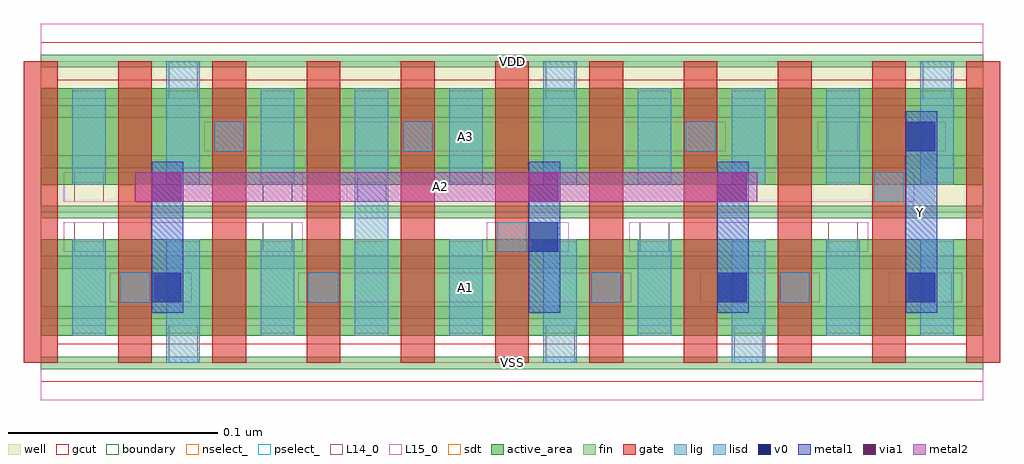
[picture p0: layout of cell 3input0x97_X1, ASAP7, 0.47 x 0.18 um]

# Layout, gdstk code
import gdstk
lib = gdstk.Library(unit=1e-6, precision=1e-09)
def R(c, l, rs):  # rectangles x0, y0, x1, y1
    for r in rs: c.add(gdstk.rectangle(r[:2], r[2:], *l))
def A(c, l, x, y, w, h, nx, ny, dx, dy):  # array of equal rectangles
    R(c, l, [(x+i*dx, y+j*dy, x+i*dx+w, y+j*dy+h) for i in range(nx) for j in range(ny)])
def P(c, l, *ps):  # polygons
    for p in ps: c.add(gdstk.Polygon(p, *l))
well = (1, 0)
fin = (2, 0)
gate = (7, 0)
gcut = (10, 0)
active_area = (11, 0)
nselect_ = (12, 0)
pselect_ = (13, 0)
L14_0 = (14, 0)
L15_0 = (15, 0)
lig = (16, 0)
lisd = (17, 0)
v0 = (18, 0)
metal1 = (19, 0)
metal2 = (20, 0)
via1 = (21, 0)
sdt = (88, 0)
boundary = (100, 0)

c_3input0x97_x1 = lib.new_cell('3input0x97_X1')
R(c_3input0x97_x1, well, [(0,0.072,0.45,0.144)])
A(c_3input0x97_x1, fin, 0, -0.003, 0.45, 0.006, 1, 7, 0, 0.024)
A(c_3input0x97_x1, gate, -0.008, 0, 0.016, 0.144, 11, 1, 0.045, 0)
P(c_3input0x97_x1, gcut, [(0,-0.009),(0,0),(-0.008,0),(-0.008,0.135),(0.008,0.135),(0.008,0.009),(0.442,0.009),(0.442,0.135),(-0.008,0.135),(-0.008,0.144),(0,0.144),(0,0.153),(0.45,0.153),(0.45,0.144),(0.458,0.144),(0.458,0),(0.45,0),(0.45,-0.009)])
R(c_3input0x97_x1, active_area, [(0,0.013,0.45,0.059), (0,0.085,0.45,0.131)])
R(c_3input0x97_x1, nselect_, [(0,0,0.45,0.072)])
R(c_3input0x97_x1, pselect_, [(0,0.072,0.45,0.144)])
A(c_3input0x97_x1, L14_0, 0.061, 0.126, 0.014, 0.018, 3, 1, 0.18, 0)
R(c_3input0x97_x1, L14_0, [(0.061,0,0.075,0.018), (0.241,0,0.255,0.018), (0.331,0,0.345,0.018), (0.038,0.029,0.052,0.043), (0.128,0.029,0.142,0.043), (0.263,0.029,0.277,0.043), (0.353,0.029,0.367,0.043), (0.421,0.029,0.435,0.043), (0.016,0.053,0.03,0.067), (0.106,0.053,0.12,0.067), (0.218,0.053,0.232,0.067), (0.286,0.053,0.3,0.067), (0.376,0.053,0.39,0.067), (0.016,0.077,0.03,0.091), (0.106,0.077,0.12,0.091), (0.151,0.077,0.165,0.091), (0.398,0.077,0.412,0.091), (0.083,0.101,0.097,0.115), (0.173,0.101,0.187,0.115), (0.308,0.101,0.322,0.115), (0.376,0.101,0.39,0.115)])
R(c_3input0x97_x1, L15_0, [(0,-0.018,0.45,0.018), (0.033,0.029,0.072,0.043), (0.123,0.029,0.282,0.043), (0.315,0.029,0.372,0.043), (0.405,0.029,0.44,0.043), (0.011,0.053,0.125,0.067), (0.213,0.053,0.252,0.067), (0.281,0.053,0.395,0.067), (0.011,0.077,0.125,0.091), (0.146,0.077,0.417,0.091), (0.078,0.101,0.327,0.115), (0.371,0.101,0.432,0.115), (0,0.126,0.45,0.162)])
R(c_3input0x97_x1, lig, [(0.038,0.029,0.052,0.043), (0.128,0.029,0.142,0.043), (0.263,0.029,0.277,0.043), (0.353,0.029,0.367,0.043), (0.218,0.053,0.232,0.067), (0.398,0.077,0.412,0.091), (0.083,0.101,0.097,0.115), (0.173,0.101,0.187,0.115), (0.308,0.101,0.322,0.115)])
A(c_3input0x97_x1, lisd, 0.015, 0.013, 0.016, 0.046, 5, 1, 0.09, 0)
A(c_3input0x97_x1, lisd, 0.015, 0.085, 0.016, 0.046, 4, 1, 0.09, 0)
A(c_3input0x97_x1, lisd, 0.06, 0.085, 0.016, 0.059, 3, 1, 0.18, 0)
R(c_3input0x97_x1, lisd, [(0.06,0,0.076,0.059), (0.24,0,0.256,0.059), (0.33,0,0.346,0.059), (0.15,0.013,0.166,0.131), (0.42,0.013,0.436,0.059), (0.33,0.085,0.346,0.131), (0.375,0.085,0.391,0.131)])
R(c_3input0x97_x1, v0, [(0.053,0.029,0.067,0.043), (0.323,0.029,0.337,0.043), (0.413,0.029,0.427,0.043), (0.233,0.053,0.247,0.067), (0.413,0.101,0.427,0.115)])
R(c_3input0x97_x1, metal1, [(0.053,0.024,0.068,0.096), (0.233,0.024,0.248,0.096), (0.323,0.024,0.338,0.096), (0.413,0.024,0.428,0.12)])
R(c_3input0x97_x1, metal2, [(0.045,0.077,0.342,0.091)])
R(c_3input0x97_x1, via1, [(0.053,0.077,0.067,0.091), (0.233,0.077,0.247,0.091), (0.323,0.077,0.337,0.091)])
A(c_3input0x97_x1, sdt, 0.015, 0.014, 0.016, 0.044, 10, 2, 0.045, 0.072)
R(c_3input0x97_x1, boundary, [(0,0,0.45,0.144)])
c_3input0x97_x1.add(gdstk.Label('VSS', (0.225,0), layer=15, texttype=251))
c_3input0x97_x1.add(gdstk.Label('VDD', (0.225,0.144), layer=15, texttype=251))
c_3input0x97_x1.add(gdstk.Label('A1', (0.203,0.036), layer=15, texttype=251))
c_3input0x97_x1.add(gdstk.Label('VSS', (0.225,0), layer=15, texttype=251))
c_3input0x97_x1.add(gdstk.Label('VDD', (0.225,0.144), layer=15, texttype=251))
c_3input0x97_x1.add(gdstk.Label('A3', (0.203,0.108), layer=15, texttype=251))
c_3input0x97_x1.add(gdstk.Label('VSS', (0.225,0), layer=15, texttype=251))
c_3input0x97_x1.add(gdstk.Label('VDD', (0.225,0.144), layer=15, texttype=251))
c_3input0x97_x1.add(gdstk.Label('VSS', (0.225,0), layer=15, texttype=251))
c_3input0x97_x1.add(gdstk.Label('VDD', (0.225,0.144), layer=15, texttype=251))
c_3input0x97_x1.add(gdstk.Label('VSS', (0.225,0), layer=3, texttype=251))
c_3input0x97_x1.add(gdstk.Label('VSS', (0.225,0), layer=3, texttype=251))
c_3input0x97_x1.add(gdstk.Label('VSS', (0.225,0), layer=3, texttype=251))
c_3input0x97_x1.add(gdstk.Label('VSS', (0.225,0), layer=3, texttype=251))
c_3input0x97_x1.add(gdstk.Label('VDD', (0.225,0.144), layer=1, texttype=251))
c_3input0x97_x1.add(gdstk.Label('VDD', (0.225,0.144), layer=1, texttype=251))
c_3input0x97_x1.add(gdstk.Label('VDD', (0.225,0.144), layer=1, texttype=251))
c_3input0x97_x1.add(gdstk.Label('VDD', (0.225,0.144), layer=1, texttype=251))
c_3input0x97_x1.add(gdstk.Label('Y', (0.42,0.072), layer=19, texttype=251))
c_3input0x97_x1.add(gdstk.Label('A2', (0.191,0.084), layer=20, texttype=251))

lib.write_gds('3input0x97_X1.gds')
